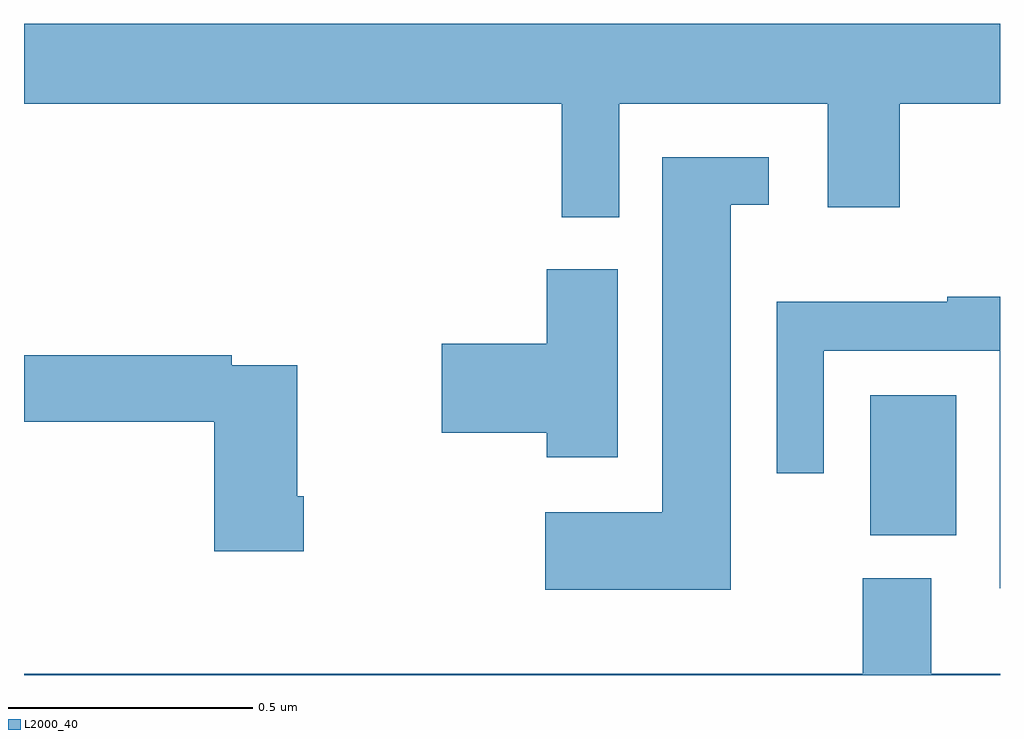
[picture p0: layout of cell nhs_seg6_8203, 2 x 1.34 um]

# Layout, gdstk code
import gdstk
lib = gdstk.Library(unit=1e-6, precision=1e-09)
def R(c, l, rs):  # rectangles x0, y0, x1, y1
    for r in rs: c.add(gdstk.rectangle(r[:2], r[2:], *l))
def P(c, l, *ps):  # polygons
    for p in ps: c.add(gdstk.Polygon(p, *l))
L2000_40 = (2000, 40)

nhs_seg6_8203 = lib.new_cell('nhs_seg6_8203')
R(nhs_seg6_8203, L2000_40, [(219.734,943.787,219.91,944.074)])
P(nhs_seg6_8203, L2000_40, [(219.22,944.672),(219.647,944.672),(219.647,944.46),(219.795,944.46),(219.795,944.672),(220,944.672),(220,944.836),(218,944.836),(218,944.672),(219.102,944.672),(219.102,944.439),(219.22,944.439)],
  [(219.448,944.465),(219.526,944.465),(219.526,944.562),(219.308,944.562),(219.308,943.834),(219.068,943.834),(219.068,943.676),(219.448,943.676)],
  [(219.217,944.332),(219.071,944.332),(219.071,944.18),(218.856,944.18),(218.856,943.997),(219.071,943.997),(219.071,943.947),(219.217,943.947)],
  [(220,944.276),(219.892,944.276),(219.892,944.266),(219.543,944.266),(219.543,943.914),(219.639,943.914),(219.639,944.165),(219.999,944.165),(219.999,943.679),(220,943.679)],
  [(218.573,943.867),(218.56,943.867),(218.56,944.136),(218.426,944.136),(218.426,944.156),(218,944.156),(218,944.02),(218.39,944.02),(218.39,943.755),(218.573,943.755)],
  [(220,943.504),(219.859,943.504),(219.859,943.699),(219.719,943.699),(219.719,943.504),(218,943.504),(218,943.5),(220,943.5)])

lib.write_gds('nhs_seg6_8203.gds')
